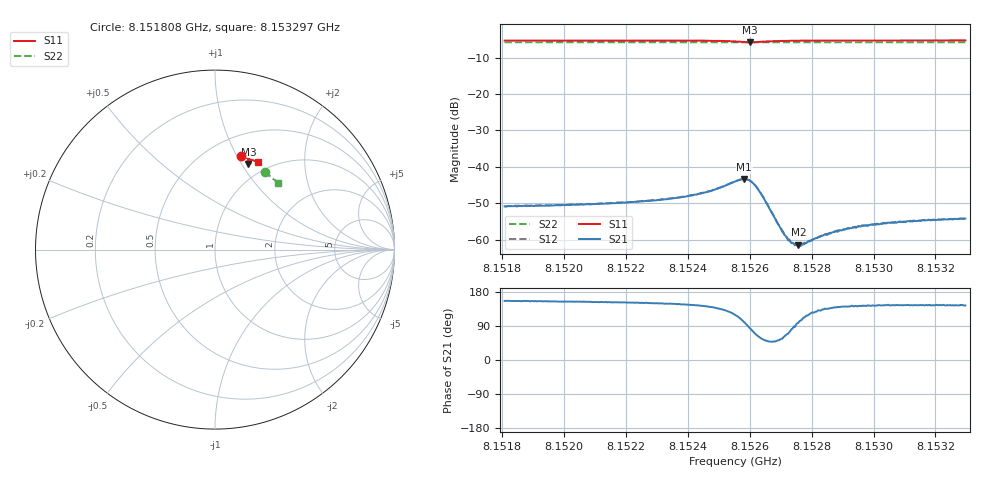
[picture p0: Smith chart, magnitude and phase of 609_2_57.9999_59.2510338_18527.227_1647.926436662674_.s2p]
#  HZ  S  RI  R  50.00
! Rohde & Schwarz Vector Network Analyzer
! Rohde-Schwarz,ZNB20-2Port,1311601062101988,3.16
! Created: UTC 3/21/2024, 1:17:39 AM
! freq[Hz]  re:S11  im:S11  re:S21  im:S21  re:S12  im:S12  re:S22  im:S22
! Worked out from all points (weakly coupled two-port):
!   401 points, 8.151808 GHz to 8.153297 GHz, reference 50 ohm
!   highest |S21| = -43.42 dB at 8.152582 GHz (marker M1); lowest = -61.4 dB at 8.152757 GHz (marker M2)
!   lowest |S11| = -5.8 dB at 8.152601 GHz (marker M3), VSWR 3.10, Z = 41.4 + j53.7 ohm
!   |S11| at or under -10 dB: nowhere
!   |S22| runs from -5.9 to -5.8 dB; largest |S21 - S12| = 0.00015
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8.1518076e9  0.1446 0.5205  -0.0026 0.00116  -0.0026 0.00119  0.2766 0.431
8.152057e9  0.162 0.5156  -0.00273 0.00136  -0.00269 0.00138  0.2898 0.4219
8.1523065e9  0.1806 0.5092  -0.00302 0.00179  -0.003 0.00182  0.3027 0.4123
8.1524368e9  0.1919 0.5033  -0.00344 0.00252  -0.00339 0.00258  0.3092 0.4071
8.1524778e9  0.1958 0.5002  -0.00358 0.00303  -0.00355 0.00313  0.3112 0.4054
8.1525522e9  0.2006 0.4865  -0.00305 0.00546  -0.00304 0.00549  0.3148 0.402
8.152582e9  0.1945 0.4785  -0.00114 0.00665  -0.00113 0.00671  0.3157 0.4006
8.1526006e9  0.1866 0.4775  0.000705 0.00635  0.000761 0.0064  0.3165 0.4001
8.1526155e9  0.181 0.481  0.00185 0.00533  0.00188 0.00537  0.3168 0.3996
8.1526341e9  0.1784 0.4878  0.00231 0.00376  0.0024 0.00379  0.3178 0.3992
8.15269e9  0.1859 0.4995  0.00104 0.00131  0.00109 0.00128  0.3208 0.3974
8.1527161e9  0.1899 0.5008  0.000468 0.00102  0.000519 0.00101  0.3221 0.3963
8.1527272e9  0.1914 0.5012  0.000284 0.000931  0.000328 0.00095  0.3228 0.3959
8.1527384e9  0.193 0.5012  0.00011 0.000899  0.000143 0.000885  0.3234 0.3953
8.152757e9  0.1953 0.5012  -0.000116 0.000842  -0.000124 0.000867  0.3244 0.3946
8.1527719e9  0.1971 0.5012  -0.000304 0.000808  -0.000251 0.000824  0.3251 0.394
8.1528017e9  0.2001 0.501  -0.000567 0.000792  -0.00054 0.000837  0.3266 0.3929
8.152865e9  0.2061 0.4995  -0.000921 0.000837  -0.000933 0.000874  0.3296 0.3901
8.1529171e9  0.2105 0.4982  -0.00112 0.000909  -0.00111 0.00091  0.3322 0.3879
8.1529581e9  0.2136 0.497  -0.0012 0.000907  -0.0012 0.000947  0.3341 0.386
8.1530512e9  0.2204 0.4947  -0.00138 0.000995  -0.00138 0.00105  0.3386 0.3821
8.1532969e9  0.2371 0.4877  -0.00157 0.00114  -0.00156 0.00114  0.3499 0.3713
